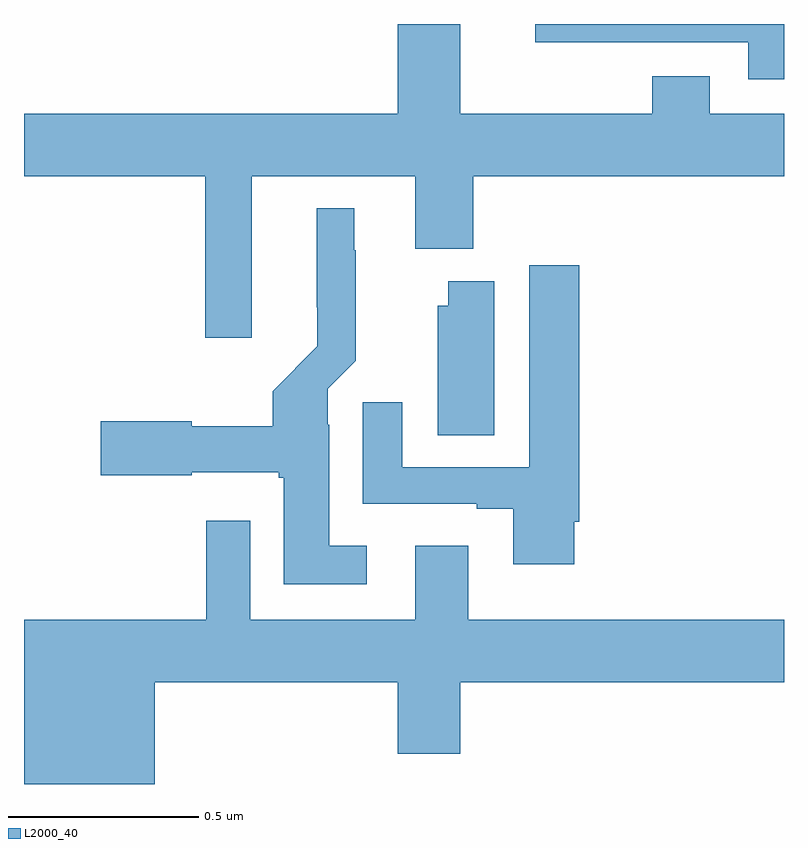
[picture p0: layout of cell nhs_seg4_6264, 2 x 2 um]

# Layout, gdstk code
import gdstk
lib = gdstk.Library(unit=1e-6, precision=1e-09)
def P(c, l, *ps):  # polygons
    for p in ps: c.add(gdstk.Polygon(p, *l))
L2000_40 = (2000, 40)

nhs_seg4_6264 = lib.new_cell('nhs_seg4_6264')
P(nhs_seg4_6264, L2000_40, [(188.599,783.5),(189.029,783.5),(189.029,783.308),(189.182,783.308),(189.182,783.5),(190,783.5),(190,783.664),(189.805,783.664),(189.805,783.763),(189.653,783.763),(189.653,783.664),(189.148,783.664),(189.148,783.9),(188.984,783.9),(188.984,783.664),(188,783.664),(188,783.5),(188.477,783.5),(188.477,783.075),(188.599,783.075)],
  [(190,783.9),(189.345,783.9),(189.345,783.852),(189.906,783.852),(189.906,783.755),(190,783.755)],
  [(188.902,782.527),(188.803,782.527),(188.803,782.846),(188.799,782.846),(188.799,782.94),(188.873,783.014),(188.873,783.305),(188.869,783.305),(188.869,783.415),(188.771,783.415),(188.771,783.154),(188.772,783.154),(188.772,783.052),(188.654,782.934),(188.654,782.842),(188.442,782.842),(188.442,782.855),(188.202,782.855),(188.202,782.713),(188.442,782.713),(188.442,782.72),(188.67,782.72),(188.67,782.706),(188.684,782.706),(188.684,782.426),(188.902,782.426)],
  [(189.448,782.59),(189.461,782.59),(189.461,783.265),(189.329,783.265),(189.329,782.733),(188.995,782.733),(188.995,782.905),(188.891,782.905),(188.891,782.637),(189.191,782.637),(189.191,782.625),(189.287,782.625),(189.287,782.478),(189.448,782.478)],
  [(189.238,783.223),(189.116,783.223),(189.116,783.159),(189.089,783.159),(189.089,782.818),(189.238,782.818)],
  [(188.344,782.168),(188.984,782.168),(188.984,781.98),(189.148,781.98),(189.148,782.168),(190,782.168),(190,782.332),(189.169,782.332),(189.169,782.527),(189.029,782.527),(189.029,782.332),(188.595,782.332),(188.595,782.593),(188.479,782.593),(188.479,782.332),(188,782.332),(188,781.9),(188.344,781.9)])

lib.write_gds('nhs_seg4_6264.gds')
